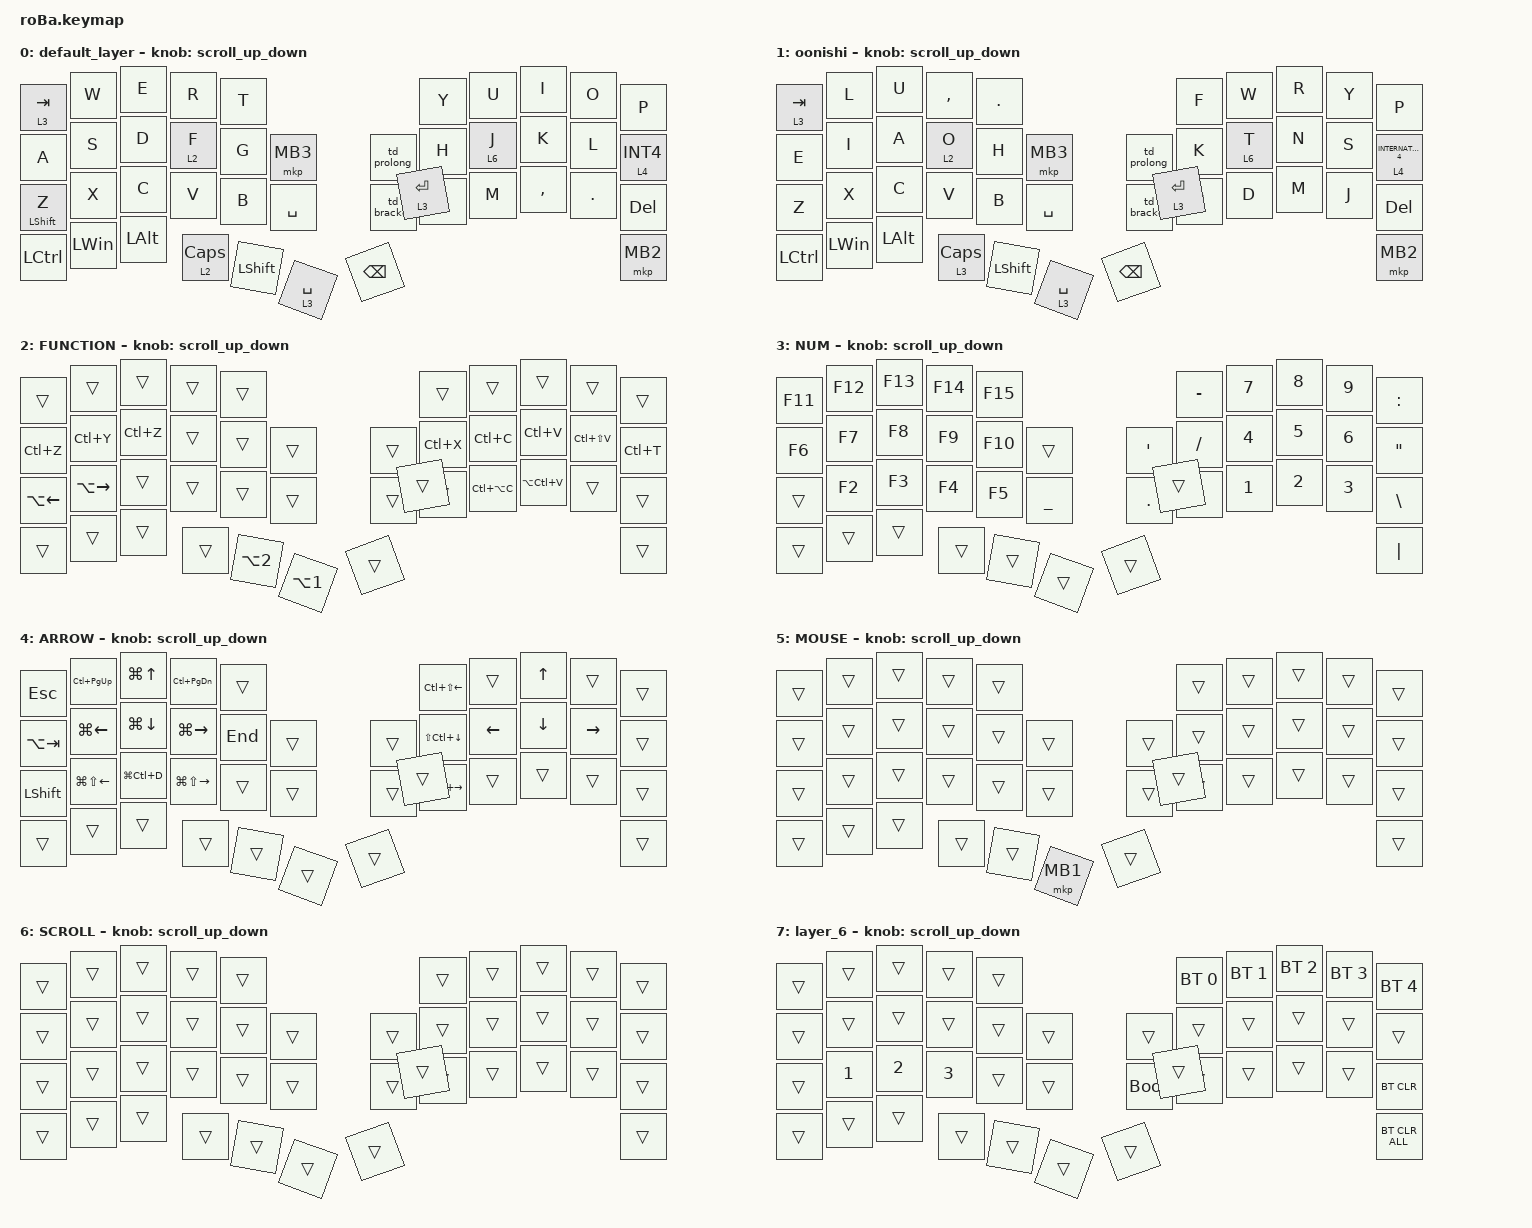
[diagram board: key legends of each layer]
// OS設定を日本語キーボードのまま使用するための変換定義

#define JP_DQUOTE       AT                // "
#define JP_AMPERSAND    CARET             // &
#define JP_QUOTE        AMPERSAND         // '
#define JP_EQUAL        UNDER             // =
#define JP_CARET        EQUAL             // ^
#define JP_YEN          0x89              // ¥
#define JP_PLUS         COLON             // +
#define JP_TILDE        PLUS              // ~
#define JP_PIPE         LS(0x89)          // |
#define JP_AT           LEFT_BRACKET      // @
#define JP_COLON        SINGLE_QUOTE      // :
#define JP_ASTERISK     DOUBLE_QUOTES     // *
#define JP_BACKQUOTE    LEFT_BRACE        // `
#define JP_UNDERSCORE   LS(0x87)          // _
#define JP_LBRACKET     RIGHT_BRACKET     // [
#define JP_RBRACKET     BACKSLASH         // ]
#define JP_LPAREN       ASTERISK          // (
#define JP_RPAREN       LEFT_PARENTHESIS  // )
#define JP_LBRACE       RIGHT_BRACE       // {
#define JP_RBRACE       PIPE              // }
#define JP_KANA         LANGUAGE_1        // かな
#define JP_EISU         LANGUAGE_2        // 英数
#define JP_HANZEN       GRAVE             // 半角/全角

#include <behaviors.dtsi>
#include <dt-bindings/zmk/bt.h>
#include <dt-bindings/zmk/keys.h>
#include <dt-bindings/zmk/pointing.h>

#define ZMK_POINTING_DEFAULT_SCRL_VAL 100

&mt {
    flavor = "balanced";
    quick-tap-ms = <0>;
};

&trackball {
    automouse-layer = <5>;
    scroll-layers = <6>;


    // arrows {
    //     layers = <3>;
    //     bindings =
    //         <&kp RIGHT_ARROW>,
    //         <&kp LEFT_ARROW>,
    //         <&kp UP_ARROW>,
    //         <&kp DOWN_ARROW>;
    //     tick = <10>;
    //     wait-ms = <5>;
    //     tap-ms = <5>;
    // };
};

/ {
    combos {
        compatible = "zmk,combos";

        tab {
            bindings = <&kp TAB>;
            key-positions = <11 12>;
        };

        shift_tab {
            bindings = <&kp LS(TAB)>;
            key-positions = <12 13>;
        };

        muhennkann {
            bindings = <&to_layer_0 INT_MUHENKAN>;
            key-positions = <11 10>;
        };

        double_quotation {
            bindings = <&kp DOUBLE_QUOTES>;
            key-positions = <20 21>;
        };

        eq {
            bindings = <&kp EQUAL>;
            key-positions = <24 25>;
        };

        attoma-ku {
            bindings = <&kp AT_SIGN>;
            key-positions = <8 9>;
        };

        layer6 {
            bindings = <&mo 7>;
            key-positions = <28 31>;
        };

        // 標準(0)から大西(7)へ

        combo_to_onishi {
            timeout-ms = <50>;
            key-positions = <28 27>;
            bindings = <&to_onishi 1>; // 定義したbehaviorを使う
            layers = <0 1>;
        };

        // 大西(1)から標準(0)へ
        // 大西配置(1)をOFFにすることで、下のレイヤー0を露出させる

        combo_to_default {
            timeout-ms = <50>;
            key-positions = <4 3>;
            bindings = <&to_default 1>; // レイヤー7をOFFにする
            layers = <0 1>;
        };
    };

    macros {
        to_layer_0: to_layer_0 {
            compatible = "zmk,behavior-macro-one-param";
            #binding-cells = <1>;
            bindings = <&to 0 &macro_param_1to1 &kp MACRO_PLACEHOLDER>;
            label = "TO_LAYER_0";
        };

        // ( ) 用（変更なし）

        parenthesis: parenthesis {
            compatible = "zmk,behavior-macro";
            #binding-cells = <0>;
            bindings = <&kp JP_LPAREN &kp JP_RPAREN &kp LEFT_ARROW>;
            label = "parenthesis";
        };

        // { } から 【 】 に変更

        brace: brace {
            compatible = "zmk,behavior-macro";
            #binding-cells = <0>;

            // 日本語PCで [ ] の場所を打つと 【 】 が出ます

            bindings = <&kp JP_LBRACKET &kp JP_RBRACKET &kp LEFT_ARROW>;
            label = "brace";
        };

        alt_tab_stay: alt_tab_stay {
            compatible = "zmk,behavior-macro";
            #binding-cells = <0>;

            // 手順: LALTを押し下げる -> TABを叩く (LALTは押し下げたまま終了)

            bindings = <&macro_press>, <&kp LALT>, <&macro_tap>, <&kp TAB>;

            label = "ALT_TAB_STAY";
        };
    };

    behaviors {
        lt_to_layer_0: lt_to_layer_0 {
            compatible = "zmk,behavior-hold-tap";
            label = "LAYER_TAP_TO_0";
            bindings = <&mo>, <&to_layer_0>;

            #binding-cells = <2>;
            tapping-term-ms = <200>;
        };

        // 新しいスクロール動作の追加

        scroll_up_down: behavior_sensor_rotate_mouse_wheel_up_down {
            compatible = "zmk,behavior-sensor-rotate";
            #sensor-binding-cells = <0>;
            bindings = <&msc SCRL_DOWN>, <&msc SCRL_UP>;

            // 追加: スクロールのタップ時間を設定 (20ms)

            tap-ms = <20>;
        };

        // 1回なら丸カッコ、2回なら隅付きカッコ

        td_bracket: td_bracket {
            compatible = "zmk,behavior-tap-dance";
            label = "TAP_DANCE_BRACKET";
            #binding-cells = <0>;
            tapping-term-ms = <200>;
            bindings = <&parenthesis>, <&brace>;
        };

        td_prolong: td_prolong {
            compatible = "zmk,behavior-tap-dance";
            #binding-cells = <0>;
            tapping-term-ms = <200>;

            // 1回で「ー」(MINUS)、2回で「～」(JP_TILDE)

            bindings = <&kp MINUS>, <&kp JP_TILDE>;
        };

        // レイヤーを強制的にONにする設定

        to_onishi: to_onishi {
            compatible = "zmk,behavior-toggle-layer";
            #binding-cells = <1>;
            toggle-mode = "on";
        };

        // レイヤーを強制的にOFFにする設定

        to_default: to_default {
            compatible = "zmk,behavior-toggle-layer";
            #binding-cells = <1>;
            toggle-mode = "off";
        };
    };

    keymap {
        compatible = "zmk,keymap";

        default_layer {
            bindings = <
&lt 3 TAB         &kp W         &kp E         &kp R           &kp T                                           &kp Y        &kp U    &kp I      &kp O    &kp P
&kp A             &kp S         &kp D         &lt 2 F         &kp G           &mkp MB3         &td_prolong    &kp H        &lt 6 J  &kp K      &kp L    &lt 4 INT4
&mt LEFT_SHIFT Z  &kp X         &kp C         &kp V           &kp B           &kp SPACE        &td_bracket    &kp N        &kp M    &kp COMMA  &kp DOT  &kp DEL
&kp LCTRL         &kp LEFT_WIN  &kp LEFT_ALT  &lt 2 CAPSLOCK  &kp LEFT_SHIFT  &lt 3 SPACE      &kp BACKSPACE  &lt 3 ENTER                               &mkp MB2
            >;

            sensor-bindings = <&scroll_up_down>;
        };

        oonishi {
            bindings = <
&lt 3 TAB  &kp L         &kp U         &kp COMMA   &kp PERIOD                                      &kp F        &kp W    &kp R  &kp Y  &kp P
&kp E      &kp I         &kp A         &lt 2 O     &kp H           &mkp MB3         &td_prolong    &kp K        &lt 6 T  &kp N  &kp S  &lt 4 INTERNATIONAL_4
&kp Z      &kp X         &kp C         &kp V       &kp B           &kp SPACE        &td_bracket    &kp G        &kp D    &kp M  &kp J  &kp DELETE
&kp LCTRL  &kp LEFT_WIN  &kp LEFT_ALT  &lt 3 CAPS  &kp LEFT_SHIFT  &lt 3 SPACE      &kp BACKSPACE  &lt 3 ENTER                         &mkp MB2
            >;

            sensor-bindings = <&scroll_up_down>;
        };

        FUNCTION {
            bindings = <
&trans              &trans               &trans     &trans  &trans                                          &trans     &trans         &trans         &trans         &trans
&kp LC(Z)           &kp LC(Y)            &kp LC(Z)  &trans  &trans            &trans                &trans  &kp LC(X)  &kp LC(C)      &kp LC(V)      &kp LC(LS(V))  &kp LC(T)
&kp LA(LEFT_ARROW)  &kp LA(RIGHT_ARROW)  &trans     &trans  &trans            &trans                &trans  &trans     &kp LC(LA(C))  &kp LA(LC(V))  &trans         &trans
&trans              &trans               &trans     &trans  &kp LA(NUMBER_2)  &kp LA(NUMBER_1)      &trans  &trans                                                  &trans
            >;

            sensor-bindings = <&scroll_up_down>;
        };

        NUM {
            bindings = <
&kp F11  &kp F12  &kp F13  &kp F14  &kp F15                                   &kp MINUS  &kp N7        &kp N8        &kp N9        &kp COLON
&kp F6   &kp F7   &kp F8   &kp F9   &kp F10  &trans         &kp SINGLE_QUOTE  &kp SLASH  &kp NUMBER_4  &kp N5        &kp NUMBER_6  &kp DOUBLE_QUOTES
&trans   &kp F2   &kp F3   &kp F4   &kp F5   &kp UNDER      &kp PERIOD        &kp N0     &kp NUMBER_1  &kp NUMBER_2  &kp NUMBER_3  &kp BACKSLASH
&trans   &trans   &trans   &trans   &trans   &trans         &trans            &trans                                               &kp PIPE
            >;

            sensor-bindings = <&scroll_up_down>;
        };

        ARROW {
            bindings = <
&kp ESCAPE      &kp LC(PAGE_UP)         &kp LG(UP_ARROW)    &kp LC(PAGE_DOWN)        &trans                       &kp LC(LS(LEFT))        &trans          &kp UP_ARROW    &trans           &trans
&kp LA(TAB)     &kp LG(LEFT_ARROW)      &kp LG(DOWN_ARROW)  &kp LG(RIGHT_ARROW)      &kp END  &trans      &trans  &kp LS(LC(DOWN_ARROW))  &kp LEFT_ARROW  &kp DOWN_ARROW  &kp RIGHT_ARROW  &trans
&kp LEFT_SHIFT  &kp LG(LS(LEFT_ARROW))  &kp LG(LC(D))       &kp LG(LS(RIGHT_ARROW))  &trans   &trans      &trans  &kp LS(LC(RIGHT))       &trans          &trans          &trans           &trans
&trans          &trans                  &trans              &trans                   &trans   &trans      &trans  &trans                                                                   &trans
            >;

            sensor-bindings = <&scroll_up_down>;
        };

        MOUSE {
            bindings = <
&trans  &trans  &trans  &trans  &trans                        &trans  &trans  &trans  &trans  &trans
&trans  &trans  &trans  &trans  &trans  &trans        &trans  &trans  &trans  &trans  &trans  &trans
&trans  &trans  &trans  &trans  &trans  &trans        &trans  &trans  &trans  &trans  &trans  &trans
&trans  &trans  &trans  &trans  &trans  &mkp MB1      &trans  &trans                          &trans
            >;

            sensor-bindings = <&scroll_up_down>;
        };

        SCROLL {
            bindings = <
&trans  &trans  &trans  &trans  &trans                      &trans  &trans  &trans  &trans  &trans
&trans  &trans  &trans  &trans  &trans  &trans      &trans  &trans  &trans  &trans  &trans  &trans
&trans  &trans  &trans  &trans  &trans  &trans      &trans  &trans  &trans  &trans  &trans  &trans
&trans  &trans  &trans  &trans  &trans  &trans      &trans  &trans                          &trans
            >;

            sensor-bindings = <&scroll_up_down>;
        };

        layer_6 {
            bindings = <
&trans  &trans        &trans        &trans        &trans                           &bt BT_SEL 0  &bt BT_SEL 1  &bt BT_SEL 2  &bt BT_SEL 3  &bt BT_SEL 4
&trans  &trans        &trans        &trans        &trans  &trans      &trans       &trans        &trans        &trans        &trans        &trans
&trans  &kp NUMBER_1  &kp NUMBER_2  &kp NUMBER_3  &trans  &trans      &bootloader  &trans        &trans        &trans        &trans        &bt BT_CLR
&trans  &trans        &trans        &trans        &trans  &trans      &trans       &trans                                                  &bt BT_CLR_ALL
            >;

            sensor-bindings = <&scroll_up_down>;
        };
    };
};
